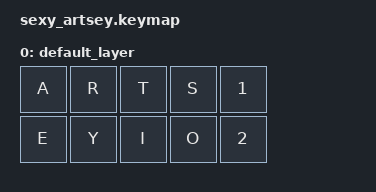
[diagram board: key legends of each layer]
/*
 * Copyright (c) 2022 The ZMK Contributors
 *
 * SPDX-License-Identifier: MIT
 */

#include <behaviors.dtsi>
#include <dt-bindings/zmk/keys.h>
#include <dt-bindings/zmk/bt.h>


#define DEFAULT 0

/ {

	keymap {
		compatible = "zmk,keymap";
		default_layer {
			bindings = <
				&kp A     &kp R     &kp T     &kp S     &kp N1
                &kp E     &kp Y     &kp I     &kp O     &kp N2
			>;
		};

	};
};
